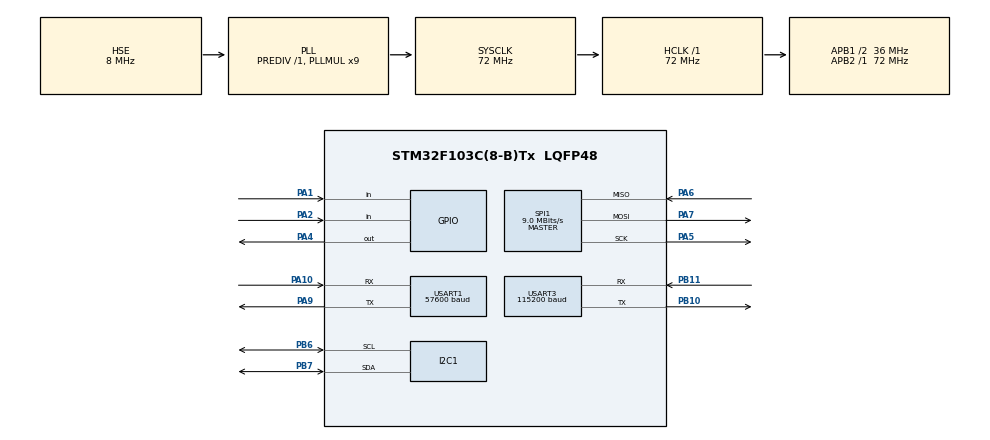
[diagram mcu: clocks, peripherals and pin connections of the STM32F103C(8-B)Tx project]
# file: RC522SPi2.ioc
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Mcu.Family=STM32F1
Mcu.Name=STM32F103C(8-B)Tx
Mcu.Package=LQFP48
NVIC.PriorityGroup=NVIC_PRIORITYGROUP_4
NVIC.USART3_IRQn=true\:1\:0\:true\:false\:true\:true\:true
PA1.GPIO_PuPd=GPIO_PULLUP
PA1.Signal=GPIO_Input
PA10.Mode=Asynchronous
PA10.Signal=USART1_RX
PA13.Mode=Serial_Wire
PA13.Signal=SYS_JTMS-SWDIO
PA14.Mode=Serial_Wire
PA14.Signal=SYS_JTCK-SWCLK
PA2.GPIO_PuPd=GPIO_PULLUP
PA2.Signal=GPIO_Input
PA4.GPIO_Speed=GPIO_SPEED_FREQ_HIGH
PA4.Signal=GPIO_Output
PA5.Mode=Full_Duplex_Master
PA5.Signal=SPI1_SCK
PA6.Mode=Full_Duplex_Master
PA6.Signal=SPI1_MISO
PA7.Mode=Full_Duplex_Master
PA7.Signal=SPI1_MOSI
PA9.Mode=Asynchronous
PA9.Signal=USART1_TX
PB10.Mode=Asynchronous
PB10.Signal=USART3_TX
PB11.Mode=Asynchronous
PB11.Signal=USART3_RX
PB6.Mode=I2C
PB6.Signal=I2C1_SCL
PB7.Mode=I2C
PB7.Signal=I2C1_SDA
PD0-OSC_IN.Mode=HSE-External-Oscillator
PD0-OSC_IN.Signal=RCC_OSC_IN
PD1-OSC_OUT.Mode=HSE-External-Oscillator
PD1-OSC_OUT.Signal=RCC_OSC_OUT
ProjectManager.HeapSize=0x200
ProjectManager.StackSize=0x400
ProjectManager.TargetToolchain=MDK-ARM V4
RCC.AHBFreq_Value=72000000
RCC.APB1CLKDivider=RCC_HCLK_DIV2
RCC.APB1Freq_Value=36000000
RCC.APB1TimFreq_Value=72000000
RCC.APB2Freq_Value=72000000
RCC.APB2TimFreq_Value=72000000
RCC.HCLKFreq_Value=72000000
RCC.PLLMUL=RCC_PLL_MUL9
RCC.PLLSourceVirtual=RCC_PLLSOURCE_HSE
RCC.SYSCLKFreq_VALUE=72000000
RCC.SYSCLKSource=RCC_SYSCLKSOURCE_PLLCLK
RCC.USBFreq_Value=72000000
SPI1.BaudRatePrescaler=SPI_BAUDRATEPRESCALER_8
SPI1.CalculateBaudRate=9.0 MBits/s
SPI1.Direction=SPI_DIRECTION_2LINES
SPI1.Mode=SPI_MODE_MASTER
SPI1.VirtualType=VM_MASTER
USART1.BaudRate=57600
USART1.VirtualMode=VM_ASYNC
USART3.BaudRate=115200
USART3.VirtualMode=VM_ASYNC
board=custom

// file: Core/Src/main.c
/* USER CODE BEGIN Header */
/**
  ******************************************************************************
  * @file           : main.c
  * @brief          : Main program body
  ******************************************************************************
  * @attention
  *
  * <h2><center>&copy; Copyright (c) 2021 STMicroelectronics.
  * All rights reserved.</center></h2>
  *
  * This software component is licensed by ST under BSD 3-Clause license,
  * the "License"; You may not use this file except in compliance with the
  * License. You may obtain a copy of the License at:
  *                        opensource.org/licenses/BSD-3-Clause
  *
  ******************************************************************************
  */
/* USER CODE END Header */
#include "main.h"
#include "i2c.h"
#include "spi.h"
#include "usart.h"
#include "gpio.h"

/* USER CODE BEGIN Includes */
#include "rc522.h"
#include "i2c-lcd.h"
#include "r305.h"
#include "ds1307.h"
#include "flash.h"
#include "stdlib.h"
#include "ringbuf.h"
/* USER CODE END Includes */

/* USER CODE BEGIN PTD */
#define BUF_SIZE (20)

RINGBUF RX_BUF;
uint8_t rx_buffer[BUF_SIZE];
uint8_t tempRX;
uint8_t txdata;

/* USER CODE END PTD */

/* USER CODE BEGIN PM */
void HAL_UART_RxCpltCallback(UART_HandleTypeDef *huart)
{
 if(huart->Instance == huart3.Instance)
 {
	if(tempRX == 13)
		tempRX = 32;
		if(tempRX == 10)
		tempRX = 32;
		RINGBUF_Put(&RX_BUF, tempRX);
	 HAL_UART_Receive_IT(&huart3, &tempRX,1);
	}

}
/* USER CODE END PM */

/* USER CODE BEGIN PV */
uint8_t str[MFRC522_MAX_LEN];
uint8_t count ;
uint8_t CardID[5];
uint8_t MyID1[5] = {74 , 142 , 31 , 36 , 255};
uint8_t MyID2[5] = {0xAD, 0x1E, 0xDA, 0x3F, 0x56};
uint8_t dataUDP_permit[]="Ma the hop le ";
uint8_t dataUDP_deny[]="Ma the khong hop le ";
uint8_t esp8266[];

char abd[50];
int8_t tt = 0;
uint8_t id = 4;
int8_t y;
int add ;

#define ADDRESS_DATA_STORAGE	0x800FC00

int ModeDD = 0;
int ModeST;
int status = 0;
//menu
int BUTTON1;
int BUTTON2;
int TAM = 1;
int TONG_MENU1 = 0;
int TONG_MENU2 = 0;
int TONG_DIEMDANH = 0;
int TONG_SETTING = 0;
uint8_t TONG = -1;
int demmenu1 = 0;

void send_uart (char *string)		// CT CON GUI UART CAC GTRI NHDO
{
	uint8_t len = strlen (string);
	HAL_UART_Transmit(&huart3, (uint8_t *) string, len, 1000);
}

//
DS1307_TIME time = {
	.sec = 0,
	.min = 53,
	.hour = 8,
	.day = 6,
	.date = 12,
	.month = 10,
	.year = 21,
};

uint8_t buf0[25];
uint8_t buf1[25];
uint8_t buf3[25];
/* USER CODE END PV */

void SystemClock_Config(void);

/* USER CODE BEGIN 0 */
void themvantay()
{
	add = Flash_Read_Int(ADDRESS_DATA_STORAGE);
	if(verifyPassword() == 1 )
			{
				if(fingerEnroll(add) == 1)
				{
						HAL_Delay(1000);
						LCD_setCursor(1,1);
						LCD_sendString("id: ");
						LCD_Write(add/10 + 0x30);
						LCD_Write(add%10 + 0x30);
				}
				else
				{
				HAL_Delay(1500);
				}
			}
}
void XoaVanTay()
{
	if(verifyPassword() == 1 )
	{
		y = fingerIDSearch();
		deleteModel(y);
		LCD_setCursor(1,1);
		LCD_sendString("id: ");
		LCD_Write(y/10 + 0x30);
		LCD_Write(y%10 + 0x30);
		HAL_Delay(1000);
		LCD_setCursor(1,1);
		LCD_sendString("Da Xoa");
	}
}
void XoaToanBo()
{
	if(verifyPassword() == 1 )
	{
		emptyDatabase();
		LCD_setCursor(1,1);
		LCD_sendString("Da Xoa");
	}
}

void Vantay()
{

	if(verifyPassword() == 1 )
	{
		y = fingerIDSearch();  // ID
		if(y == -1)
		{
			// LOI
			LCD_setCursor(1,1);
			LCD_sendString("loi                ");
			HAL_Delay(1000);
		}
		else
		{
			if(y==1 )
			{
				LCD_setCursor(1,1);
				LCD_sendString("found-Dung ");
				HAL_Delay(2000);
			}

		  if(y==2)
			{
				LCD_setCursor(1,1);
				LCD_sendString("found-Viet ");
				HAL_Delay(2000);
			}
		  if(y==3)
			{
				LCD_setCursor(1,1);
				LCD_sendString("found-Hung ");
				HAL_Delay(2000);
			}
		if((y == y) && (y != 3) && (y != 2)&& (y != 1)  )
			{
				LCD_setCursor(1,1);
				LCD_sendString("id: ");
				LCD_Write(y/10 + 0x30);
				LCD_Write(y%10 + 0x30);
				HAL_Delay(2000);
			}
		}
	}
}
//
void RFID()
{
	 //LCD_Clear();

	while(1)
	{
		if (TM_MFRC522_Check(CardID) == MI_OK) ///RFID
		{
			sprintf((uint8_t*) buf3, "%d%d%d%d",CardID[0],CardID[1],CardID[2],CardID[3]);
			HAL_UART_Transmit(&huart3, buf3,8,100);
			HAL_Delay(2000);
			if(rx_buffer[0] == 32)
			{
				LCD_setCursor(1,1);
				LCD_sendString("khong co the");
				RINGBUF_Clear(&RX_BUF,20);
				break;
			}
			else
			{
				LCD_setCursor(1,1);
				LCD_sendString(rx_buffer);
				RINGBUF_Clear(&RX_BUF,20);
				break;
			}
		}
	}

}

void ThoiGian()
{
		GET_TIME(&time);
		sprintf((char*) buf0, "%02d/%02d/20%02d", time.date, time.month, time.year);
		sprintf((char*) buf1, "%02d:%02d:%02d", time.hour, time.min, time.sec);
		LCD_setCursor(0,3);
		LCD_sendString(buf0);
		LCD_setCursor(1,4);
		LCD_sendString(buf1);
}
//

void MENU_TONG()
{
  if (TONG == 0)
  {
    LCD_Clear();
		 LCD_setCursor(0, 6);
    LCD_sendString("DO AN 2");
    LCD_setCursor(2, 1);
    LCD_sendString(">DiemDanh");
    LCD_setCursor(3, 1);
    LCD_sendString(" SETTING");
  }
  else if (TONG == 1)
  {
    LCD_Clear();
		 LCD_setCursor(0, 6);
    LCD_sendString("DO AN 2");
    LCD_setCursor(2, 1);
    LCD_sendString(" DiemDanh");
    LCD_setCursor(3, 1);
    LCD_sendString(">SETTING");
  }

}
//
void MENU1()
{
    if (TONG_MENU1 == 0)
  {
    LCD_Clear();
    LCD_setCursor(1, 1);
    LCD_sendString(">DiemDanhVanTay");
    LCD_setCursor(2, 1);
    LCD_sendString(" RFID");
		LCD_setCursor(3, 1);
    LCD_sendString(" BACK");
  }
  else if (TONG_MENU1 == 1)
  {
    LCD_Clear();
        LCD_setCursor(1, 1);
    LCD_sendString(" DiemDanhVanTay");
    LCD_setCursor(2, 1);
    LCD_sendString(">RFID");
		LCD_setCursor(3, 1);
    LCD_sendString(" BACK");
  }
	 else if (TONG_MENU1 == 2)
  {
    LCD_Clear();
        LCD_setCursor(1, 1);
    LCD_sendString(" DiemDanhVanTay");
    LCD_setCursor(2, 1);
    LCD_sendString(" RFID");
		LCD_setCursor(3, 1);
    LCD_sendString(">BACK");
  }
}
void MENU2()
{    if (TONG_MENU2 == 0)
  {
    LCD_Clear();
    LCD_setCursor(0, 1);
    LCD_sendString(">ADD VANTAY");
    LCD_setCursor(1, 1);
    LCD_sendString(" DELETE 1 VANTAY");
		LCD_setCursor(2, 1);
    LCD_sendString(" DELETE FULL");
		LCD_setCursor(3, 1);
    LCD_sendString(" BACK");
  }
  else if (TONG_MENU2 == 1)
  {
    LCD_Clear();
    LCD_setCursor(0, 1);
    LCD_sendString(" ADD VANTAY");
    LCD_setCursor(1, 1);
    LCD_sendString(">DELETE 1 VANTAY");
		LCD_setCursor(2, 1);
    LCD_sendString(" DELETE FULL");
		LCD_setCursor(3, 1);
    LCD_sendString(" BACK");
  }
	 else if (TONG_MENU2 == 2)
  {
   LCD_Clear();
    LCD_setCursor(0, 1);
    LCD_sendString(" ADD VANTAY");
    LCD_setCursor(1, 1);
    LCD_sendString(" DELETE 1 VANTAY");
		LCD_setCursor(2, 1);
    LCD_sendString(">DELETE FULL");
		LCD_setCursor(3, 1);
    LCD_sendString(" BACK");
  }
	 else if (TONG_MENU2 == 3)
  {
   LCD_Clear();
    LCD_setCursor(0, 1);
    LCD_sendString(" ADD VANTAY");
    LCD_setCursor(1, 1);
    LCD_sendString(" DELETE 1 VANTAY");
		LCD_setCursor(2, 1);
    LCD_sendString(" DELETE FULL");
		LCD_setCursor(3, 1);
    LCD_sendString(">BACK");
  }
}
void MENU_DIEMDANH()
{
	switch(TONG_MENU1)
	{
		case 0:
			LCD_Clear();
      LCD_setCursor(0,1);
      LCD_sendString("DiemDanhVanTay");
			Vantay();
			HAL_Delay(1000);
			break;
		case 1:
			LCD_Clear();
      LCD_setCursor(0,8);
      LCD_sendString("RFID");
			RFID();
			HAL_Delay(1000);
			break;
	}
}
void MENU_SETTING()
{
if (TONG_MENU2 == 0)
  {
			LCD_Clear();
      LCD_setCursor(0,1);
      LCD_sendString("ADD VAN TAY");
			themvantay();
      add++;
			Flash_Erase(ADDRESS_DATA_STORAGE);
			Flash_Write_Int(ADDRESS_DATA_STORAGE,add);
  }
  else if (TONG_MENU2 == 1)
  {
			LCD_Clear();
      LCD_setCursor(0,1);
      LCD_sendString("DELETE 1 VANTAY");
			XoaVanTay();
  }
	 else if (TONG_MENU2 == 2)
  {
			LCD_Clear();
      LCD_setCursor(0,1);
      LCD_sendString("DELETE FULL");
			XoaToanBo();
			Flash_Erase(ADDRESS_DATA_STORAGE);
			Flash_Write_Int(ADDRESS_DATA_STORAGE,0);
  }
}
/* USER CODE END 0 */

int main(void)
{

  /* MCU Configuration--------------------------------------------------------*/

  /* Reset of all peripherals, Initializes the Flash interface and the Systick. */
  HAL_Init();

  /* Configure the system clock */
  SystemClock_Config();

  /* Initialize all configured peripherals */
  MX_GPIO_Init();
  MX_SPI1_Init();
  MX_I2C1_Init();
  MX_USART1_UART_Init();
  MX_USART3_UART_Init();
  /* USER CODE BEGIN 2 */
	TM_MFRC522_Init();
  LCD_Init();
  I2C_Config(&hi2c1);
  SET_TIME(&time);
	RINGBUF_Init(&RX_BUF, rx_buffer, BUF_SIZE);
	HAL_UART_Receive_IT(&huart3, &tempRX,1) ;
			TM_MFRC522_Init();
  /* USER CODE END 2 */

  /* Infinite loop */
  while (1)
  {

    /* USER CODE BEGIN 3 */
		 BUTTON1 = HAL_GPIO_ReadPin(GPIOA, GPIO_PIN_1);
		 BUTTON2 = HAL_GPIO_ReadPin(GPIOA, GPIO_PIN_2);

		//BUTTON LEN
		if(BUTTON1 != 1)
		{
			 if(BUTTON1 == 0)
		 {
			 if(TAM == 1)  // menu tong
			 {
			 if(TONG >=1 )
				 TONG = 0;
			 else
				 TONG++;
			 	MENU_TONG();
			}
			if(TAM == 2 && TONG == 0) // chon menu diemdanh
			 {
			 if(TONG_MENU1 >=2 )
				 TONG_MENU1 = 0;
			 else
				 TONG_MENU1++;
			 	MENU1();
			}
			if(TAM == 2 && TONG == 1) // chon menusetting
			 {
			 if(TONG_MENU2 >=3 )
				 TONG_MENU2 = 0;
			 else
				 TONG_MENU2++;
			 	MENU2();
			}
			 HAL_Delay(200);
			}
		}

			// BUTTON MENU
			if(BUTTON2 ==0 )
			{
				TAM ++;

				if(TAM == 1)
					MENU_TONG();
				else if(TAM == 2 && TONG == 0) // chon menu1
				{
					MENU1();
					demmenu1 ++;
				}
				else if(TAM == 2 && TONG == 1) // chon menu2
				{
					MENU2();
					demmenu1 ++;
				}
				else if(TAM == 3 && TONG == 0 &&  TONG_MENU1 < 2  && demmenu1 == 1) // chon menu o menu 1
				{
					MENU_DIEMDANH();
				}
				else if(TAM == 3 && TONG == 1 &&  TONG_MENU2 < 3  && demmenu1 == 1) // chon menu o menu 1
				{
					MENU_SETTING();
				}
				else if(TAM == 4 && TONG == 0 &&  TONG_MENU1 < 2 && demmenu1 == 1) // thoat chon menu 1
				 {
						TAM = 2;
					 TONG = 0;
						MENU1();
				 }
				 else if(TAM == 4 && TONG == 1 &&  TONG_MENU2 < 3 && demmenu1 == 1) // thoat chon menu 2
				 {
						TAM = 2;
					 TONG = 1;
						MENU2();
				 }
				 else if(TAM == 3 && TONG == 0 &&  TONG_MENU1 == 2  && demmenu1 == 1)
				{
					TONG_MENU1 = 0;
					TAM = 1;
					demmenu1 = 0;
					MENU_TONG();
				}
				 else if(TAM == 3 && TONG == 1 &&  TONG_MENU2 == 3  && demmenu1 == 1)
				{
					TONG_MENU2 = 0;
					TAM = 1;
					demmenu1 = 0;
					MENU_TONG();
				}

				 HAL_Delay(200);
			}

  }
  /* USER CODE END 3 */
}

void SystemClock_Config(void)
{
  RCC_OscInitTypeDef RCC_OscInitStruct = {0};
  RCC_ClkInitTypeDef RCC_ClkInitStruct = {0};

  /** Initializes the RCC Oscillators according to the specified parameters
  * in the RCC_OscInitTypeDef structure.
  */
  RCC_OscInitStruct.OscillatorType = RCC_OSCILLATORTYPE_HSE;
  RCC_OscInitStruct.HSEState = RCC_HSE_ON;
  RCC_OscInitStruct.HSEPredivValue = RCC_HSE_PREDIV_DIV1;
  RCC_OscInitStruct.HSIState = RCC_HSI_ON;
  RCC_OscInitStruct.PLL.PLLState = RCC_PLL_ON;
  RCC_OscInitStruct.PLL.PLLSource = RCC_PLLSOURCE_HSE;
  RCC_OscInitStruct.PLL.PLLMUL = RCC_PLL_MUL9;
  if (HAL_RCC_OscConfig(&RCC_OscInitStruct) != HAL_OK)
  {
    Error_Handler();
  }
  /** Initializes the CPU, AHB and APB buses clocks
  */
  RCC_ClkInitStruct.ClockType = RCC_CLOCKTYPE_HCLK|RCC_CLOCKTYPE_SYSCLK
                              |RCC_CLOCKTYPE_PCLK1|RCC_CLOCKTYPE_PCLK2;
  RCC_ClkInitStruct.SYSCLKSource = RCC_SYSCLKSOURCE_PLLCLK;
  RCC_ClkInitStruct.AHBCLKDivider = RCC_SYSCLK_DIV1;
  RCC_ClkInitStruct.APB1CLKDivider = RCC_HCLK_DIV2;
  RCC_ClkInitStruct.APB2CLKDivider = RCC_HCLK_DIV1;

  if (HAL_RCC_ClockConfig(&RCC_ClkInitStruct, FLASH_LATENCY_2) != HAL_OK)
  {
    Error_Handler();
  }
}

void Error_Handler(void)
{
  __disable_irq();
  while (1)
  {
  }
}

/************************ (C) COPYRIGHT STMicroelectronics *****END OF FILE****/
